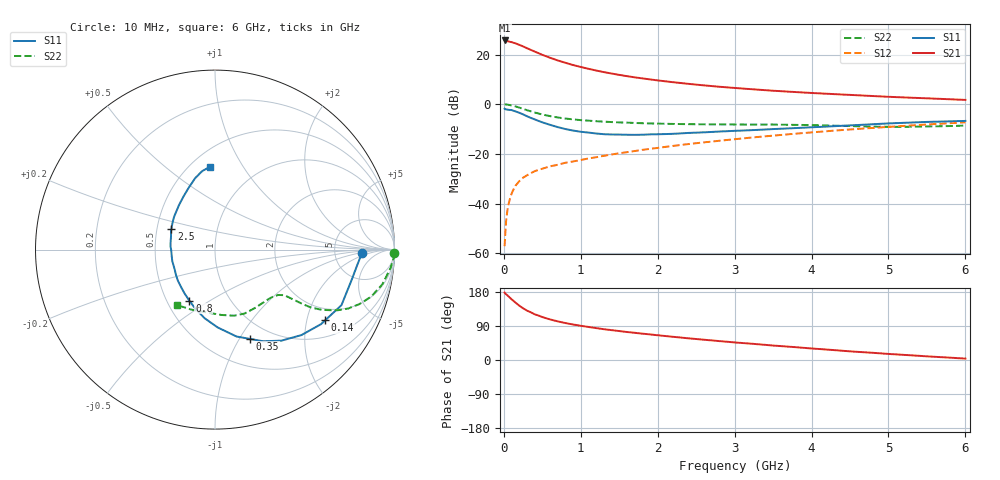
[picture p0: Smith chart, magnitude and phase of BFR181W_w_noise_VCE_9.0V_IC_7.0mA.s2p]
! (c) 2017  Infineon Technologies AG, Munich
! Infineon Technologies  Discrete & RF Semiconductors
! BFR181W
! VCE =  9.0 V,  IC =  7.0 mA
! Common Emitter S-Parameters:  Jan 2017
# GHz  S  MA  R  50
!  f  S11  S21  S12  S22
! GHz  MAG  ANG  MAG  ANG  MAG  ANG  MAG  ANG
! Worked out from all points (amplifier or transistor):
!   77 points, 10 MHz to 6 GHz, reference 50 ohm
!   highest |S21| = 25.7 dB at 10 MHz (marker M1)
!   |S21| within 3 dB of that: start of sweep to 292.4 MHz
!   unconditionally stable (mu >= 1): 1.202 GHz to 3.246 GHz
!   at 130 MHz: K = 0.20, MSG = 29.4 dB, |S12| = -34.0 dB
!   at 2.2 GHz: K = 1.07, MAG = 11.3 dB, |S12| = -16.7 dB
!   at 6 GHz: K = 0.85, MSG = 4.5 dB, |S12| = -7.2 dB
!   lowest NFmin = 1.08 dB at 450 MHz
!   S11 on the Smith chart (normalised r, x): 10 MHz: 9.83, -1.27; 140 MHz: 1.54, -2.59; 350 MHz: 0.80, -1.11; 800 MHz: 0.65, -0.41; 2.5 GHz: 0.60, +0.15; 6 GHz: 0.62, +0.73
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0.01  0.8181 -1.5  19.28 177.9  0.0014 95.8  0.9961 -1.2
0.02  0.7979 -6.0  18.88 175.2  0.0027 89.8  0.998 -2.2
0.04  0.7858 -9.9  18.68 171.7  0.0062 84.5  0.9878 -4.7
0.1  0.7696 -23.7  17.85 160.3  0.0158 79.5  0.9524 -11.7
0.14  0.7293 -32.7  17.06 153.4  0.0215 74.9  0.9175 -15.7
0.2  0.6772 -44.7  15.75 143.5  0.0284 69.7  0.8598 -20.7
0.25  0.6279 -53.9  14.64 136.5  0.0334 65.6  0.8111 -23.9
0.3  0.5767 -62.3  13.48 130.4  0.0372 64.3  0.7627 -26.3
0.35  0.5339 -68.7  12.47 125.9  0.0411 62.2  0.7234 -27.8
0.4  0.4988 -76.1  11.54 120.7  0.0451 60.5  0.6846 -29.4
0.5  0.4342 -88.0  9.915 113.3  0.0507 59.4  0.6241 -31.1
0.6  0.3871 -98.5  8.663 107.1  0.0565 58.9  0.5793 -31.8
0.7  0.3481 -108.1  7.643 102.0  0.0607 59.5  0.5442 -32.2
0.8  0.3183 -116.7  6.852 97.5  0.0668 60.2  0.518 -32.5
1.1  0.2702 -139.8  5.182 87.2  0.0816 61.9  0.4693 -33.3
1.6  0.2441 -170.6  3.691 73.9  0.109 63.6  0.4285 -36.7
2.1  0.2521 167.9  2.906 63.3  0.1392 63.8  0.4062 -42.8
2.5  0.2692 154.4  2.494 55.4  0.165 63.3  0.3976 -49.2
3.1  0.2968 138.5  2.08 44.8  0.2058 61.2  0.3923 -58.9
4.1  0.3512 118.6  1.662 29.0  0.2801 55.8  0.3788 -75.9
5.1  0.4188 104.2  1.397 14.8  0.3596 48.2  0.3526 -100.2
6  0.4637 93.3  1.229 3.7  0.4345 40.0  0.3738 -124.4
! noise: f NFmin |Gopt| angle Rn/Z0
0.45  1.08  0.24  17  0.22
0.9  1.13  0.22  31  0.21
1.9  1.55  0.09  86  0.19
2.4  1.7  0.08  96  0.23
